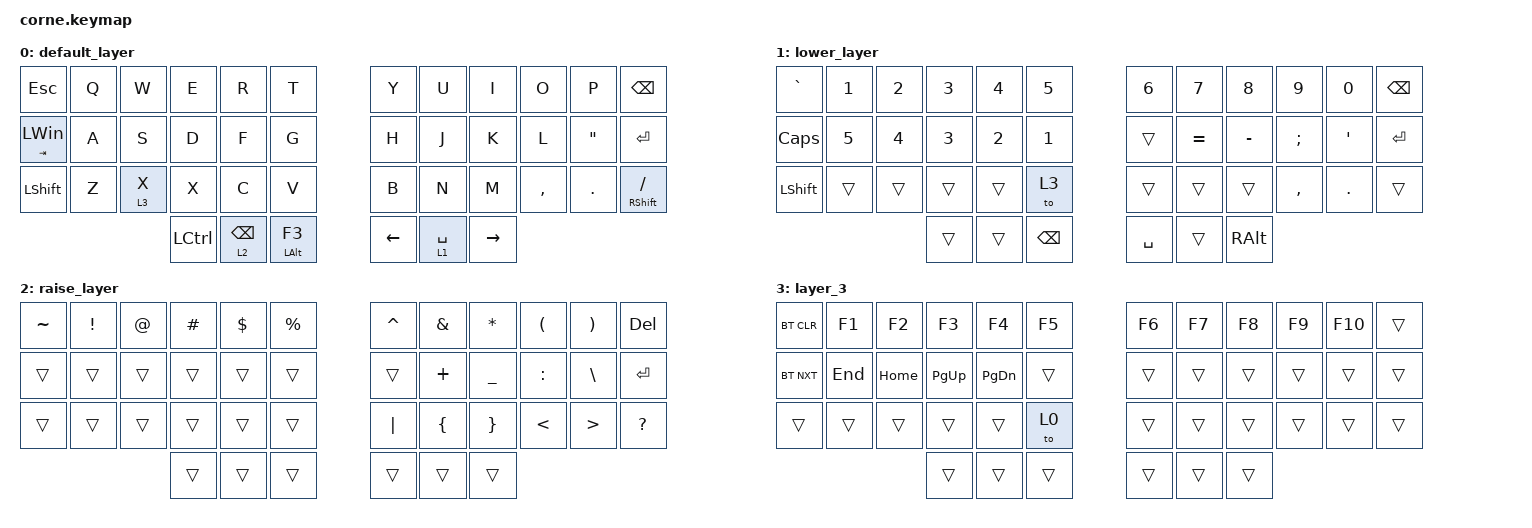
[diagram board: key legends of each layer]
/*
 * Copyright (c) 2020 The ZMK Contributors
 *
 * SPDX-License-Identifier: MIT
 */

#include <behaviors.dtsi>
#include <dt-bindings/zmk/bt.h>
#include <dt-bindings/zmk/keys.h>

/ {
    keymap {
        compatible = "zmk,keymap";

        default_layer {
            // -----------------------------------------------------------------------------------------
            // |  TAB |  Q  |  W  |  E  |  R  |  T  |   |  Y  |  U   |  I  |  O  |  P  | BKSP |
            // | CTRL |  A  |  S  |  D  |  F  |  G  |   |  H  |  J   |  K  |  L  |  ;  |  '   |
            // | SHFT |  Z  |  X  |  C  |  V  |  B  |   |  N  |  M   |  ,  |  .  |  /  | ESC  |
            //                    | GUI | LWR | SPC |   | ENT | RSE  | ALT |

            bindings = <
         &kp ESC  &kp Q    &kp W             &kp E            &kp R            &kp T       &kp Y        &kp U      &kp I      &kp O              &kp P               &kp BSPC
&mt TAB LEFT_WIN  &kp A    &kp S             &kp D            &kp F            &kp G       &kp H        &kp J      &kp K      &kp L  &kp DOUBLE_QUOTES              &kp ENTER
       &kp LSHFT  &kp Z  &lt 3 X             &kp X            &kp C            &kp V       &kp B        &kp N      &kp M  &kp COMMA            &kp DOT  &mt RIGHT_SHIFT SLASH
                                  &kp LEFT_CONTROL  &lt 2 BACKSPACE  &mt LEFT_ALT F3    &kp LEFT  &lt 1 SPACE  &kp RIGHT
            >;
        };

        lower_layer {
            // -----------------------------------------------------------------------------------------
            // |  TAB |  1  |  2  |  3  |  4  |  5  |   |  6  |  7  |  8  |  9  |  0  | BKSP |
            // | BTCLR| BT1 | BT2 | BT3 | BT4 | BT5 |   | LFT | DWN |  UP | RGT |     |      |
            // | SHFT |     |     |     |     |     |   |     |     |     |     |     |      |
            //                    | GUI |     | SPC |   | ENT |     | ALT |

            bindings = <
&kp GRAVE  &kp NUMBER_1        &kp N2        &kp N3        &kp N4         &kp N5       &kp N6     &kp N7     &kp N8         &kp N9            &kp N0   &kp BSPC
 &kp CAPS  &kp NUMBER_5  &kp NUMBER_4  &kp NUMBER_3  &kp NUMBER_2   &kp NUMBER_1       &trans  &kp EQUAL  &kp MINUS  &kp SEMICOLON  &kp SINGLE_QUOTE  &kp ENTER
&kp LSHFT        &trans        &trans        &trans        &trans          &to 3       &trans     &trans     &trans      &kp COMMA           &kp DOT     &trans
                                             &trans        &trans  &kp BACKSPACE    &kp SPACE     &trans   &kp RALT
            >;
        };

        raise_layer {
            // -----------------------------------------------------------------------------------------
            // |  TAB |  !  |  @  |  #  |  $  |  %  |   |  ^  |  &  |  *  |  (  |  )  | BKSP |
            // | CTRL |     |     |     |     |     |   |  -  |  =  |  [  |  ]  |  \  |  `   |
            // | SHFT |     |     |     |     |     |   |  _  |  +  |  {  |  }  | "|" |  ~   |
            //                    | GUI |     | SPC |   | ENT |     | ALT |

            bindings = <
&kp TILDE  &kp EXCL  &kp AT  &kp HASH  &kp DLLR  &kp PRCNT    &kp CARET        &kp AMPS    &kp ASTERISK   &kp LPAR          &kp RPAR       &kp DEL
   &trans    &trans  &trans    &trans    &trans     &trans       &trans        &kp PLUS  &kp UNDERSCORE  &kp COLON          &kp BSLH     &kp ENTER
   &trans    &trans  &trans    &trans    &trans     &trans     &kp PIPE  &kp LEFT_BRACE        &kp RBRC     &kp LT  &kp GREATER_THAN  &kp QUESTION
                               &trans    &trans     &trans       &trans          &trans          &trans
            >;
        };

        layer_3 {
            bindings = <
&bt BT_CLR   &kp F1    &kp F2     &kp F3         &kp F4  &kp F5    &kp F6  &kp F7  &kp F8  &kp F9  &kp F10  &trans
&bt BT_NXT  &kp END  &kp HOME  &kp PG_UP  &kp PAGE_DOWN  &trans    &trans  &trans  &trans  &trans   &trans  &trans
    &trans   &trans    &trans     &trans         &trans   &to 0    &trans  &trans  &trans  &trans   &trans  &trans
                                  &trans         &trans  &trans    &trans  &trans  &trans
            >;
        };
    };
};
